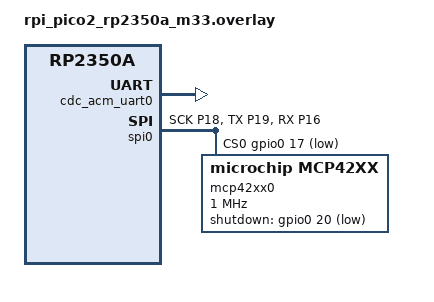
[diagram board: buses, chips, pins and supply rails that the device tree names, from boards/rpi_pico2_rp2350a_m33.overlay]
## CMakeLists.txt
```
# Copyright (c) 2026 Fabrizio Carlassara
# SPDX-License-Identifier: Apache-2.0

cmake_minimum_required(VERSION 3.20.0)

# This sample is its own application root (built via `-s
# app/samples/mcp4xxx`), so DTS_ROOT defaults to *this* directory, not
# app/ -- without this, the devicetree bindings at app/dts/bindings/
# (microchip,mcp41xx.yaml / microchip,mcp42xx.yaml) are never found, the
# mcp42xx0 node below never resolves against a binding, and
# DT_HAS_MICROCHIP_MCP42XX_ENABLED silently never becomes true, which
# silently keeps CONFIG_MCP4XXX at n regardless of anything in prj.conf.
# Must be set before find_package(Zephyr) picks DTS_ROOT up.
list(APPEND DTS_ROOT ${CMAKE_CURRENT_SOURCE_DIR}/../..)

find_package(Zephyr REQUIRED)
project(mcp4xxx_sample)

target_sources(app PRIVATE src/main.c)

# Reach into the app-local driver this sample exists to exercise -- same
# relative layout app/CMakeLists.txt uses for the real firmware, just two
# levels further down since this sample lives at app/samples/mcp4xxx/.
set(MCP4XXX_DRIVER_DIR ${CMAKE_CURRENT_SOURCE_DIR}/../../drivers/mcp4xxx)
target_include_directories(app PRIVATE ${MCP4XXX_DRIVER_DIR})
add_subdirectory_ifdef(CONFIG_MCP4XXX ${MCP4XXX_DRIVER_DIR} ${CMAKE_CURRENT_BINARY_DIR}/mcp4xxx)
target_link_libraries_ifdef(CONFIG_MCP4XXX app PRIVATE mcp4xxx)
```

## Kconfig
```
# Copyright (c) 2026 Fabrizio Carlassara
# SPDX-License-Identifier: Apache-2.0

mainmenu "MCP4XXX driver bring-up sample"

rsource "../../drivers/mcp4xxx/Kconfig"

source "Kconfig.zephyr"
```

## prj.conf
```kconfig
# Copyright (c) 2026 Fabrizio Carlassara
# SPDX-License-Identifier: Apache-2.0

CONFIG_GPIO=y
CONFIG_SPI=y
CONFIG_LOG=y
CONFIG_SHELL=y
CONFIG_MCP4XXX_LOG_LEVEL_DBG=y

CONFIG_USB_DEVICE_STACK_NEXT=y
CONFIG_USBD_CDC_ACM_LOG_LEVEL_OFF=y
CONFIG_CDC_ACM_SERIAL_INITIALIZE_AT_BOOT=y
CONFIG_CDC_ACM_SERIAL_ENABLE_AT_BOOT=y
CONFIG_CDC_ACM_SERIAL_PRODUCT_STRING="MCP4XXX Shell"
```

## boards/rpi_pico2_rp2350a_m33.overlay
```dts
/*
 * Copyright (c) 2026 Fabrizio Carlassara
 * SPDX-License-Identifier: Apache-2.0
 */

/*
 * Bench wiring for app/drivers/mcp4xxx/ bring-up against a real MCP4251.
 *
 * GPIO16-19 (CS/SCK/MOSI/MISO): the devboard at hardware/devboard/ wires
 * these to the TFT display's parallel control bus (see its README.md's
 * "Core2350B0 pin usage" table) -- fine here only because the display
 * isn't part of this particular bench setup. If that ever changes, this
 * needs to move (SPI1 on GPIO10/11/24/25 + GPIO26 for SHDN is free
 * regardless -- see git history of this file for that version).
 *
 * CS is a software-driven GPIO (cs-gpios), not the SPI0 peripheral's own
 * dedicated CSN pin function -- diagnosed against real hardware
 * (docs/ROADMAP.md has the full trace): with no cs-gpios,
 * spi_context_cs_control() is a no-op and CS timing is left entirely to
 * the RP2350's PL022-style hardware, which pulses CS between every data
 * frame (byte) instead of holding it low for a whole multi-byte
 * transfer. That's invisible for single-frame writes but breaks every
 * 2-byte Read Data command: the MCP4251 sees each byte as the start of
 * its own fresh, isolated command instead of one continuous 16-bit Read.
 * A GPIO-driven CS is asserted once and released once by Zephyr itself,
 * bypassing that hardware behavior. Same physical GPIO17 wire as before
 * -- only how firmware treats it changes.
 */

#include <zephyr/dt-bindings/pinctrl/rpi-pico-rp2350a-pinctrl.h>

/ {
	chosen {
		zephyr,console = &cdc_acm_uart0;
		zephyr,shell-uart = &cdc_acm_uart0;
	};
};

&zephyr_udc0 {
	cdc_acm_uart0: cdc_acm_uart0 {
		compatible = "zephyr,cdc-acm-uart";
		label = "CDC_ACM_0";
	};
};

&pinctrl {
	spi0_mcp4xxx: spi0_mcp4xxx {
		group1 {
			pinmux = <SPI0_SCK_P18>, <SPI0_TX_P19>;
		};
		group2 {
			pinmux = <SPI0_RX_P16>;
			input-enable;
		};
	};
};

&spi0 {
	status = "okay";
	pinctrl-0 = <&spi0_mcp4xxx>;
	pinctrl-names = "default";
	cs-gpios = <&gpio0 17 GPIO_ACTIVE_LOW>;

	mcp42xx0: mcp4251@0 {
		compatible = "microchip,mcp42xx";
		reg = <0>;
		spi-max-frequency = <DT_FREQ_M(1)>;
		ohms = <10000>;
		resolution = <8>;
		shutdown-gpios = <&gpio0 20 GPIO_ACTIVE_LOW>;
	};
};
```

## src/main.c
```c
/*
 * Copyright (c) 2026 Fabrizio Carlassara
 * SPDX-License-Identifier: Apache-2.0
 */

#include <stdlib.h>
#include <string.h>

#include <zephyr/device.h>
#include <zephyr/devicetree.h>
#include <zephyr/kernel.h>
#include <zephyr/shell/shell.h>
#include <zephyr/sys/util.h>

#include "mcp4xxx.h"

/*
 * Bench bring-up sample for app/drivers/mcp4xxx/ -- see this directory's
 * boards/ subdirectory for the wiring overlay, and docs/ROADMAP.md (in
 * the driver's own directory) for what's been validated against real
 * hardware so far.
 *
 * Deliberately shell-driven rather than an automatic sweep: each command
 * does exactly one thing and holds the result, so a multimeter/scope
 * reading can be taken at a steady value instead of chasing a moving one.
 */

static const struct device *const dev = DEVICE_DT_GET(DT_NODELABEL(mcp42xx0));

static int cmd_set(const struct shell *sh, size_t argc, char **argv)
{
	uint8_t channel = (uint8_t)strtoul(argv[1], NULL, 0);
	uint16_t value = (uint16_t)strtoul(argv[2], NULL, 0);
	int ret = mcp4xxx_set(dev, channel, value);

	if (ret != 0) {
		shell_error(sh, "mcp4xxx_set(%u, %u) failed: %d", channel, value, ret);
		return ret;
	}
	shell_print(sh, "ch%u <- %u", channel, value);
	return 0;
}

static int cmd_get(const struct shell *sh, size_t argc, char **argv)
{
	uint8_t channel = (uint8_t)strtoul(argv[1], NULL, 0);
	uint16_t value;
	int ret = mcp4xxx_get(dev, channel, &value);

	if (ret != 0) {
		shell_error(sh, "mcp4xxx_get(%u) failed: %d", channel, ret);
		return ret;
	}
	shell_print(sh, "ch%u -> %u", channel, value);
	return 0;
}

static int cmd_inc(const struct shell *sh, size_t argc, char **argv)
{
	uint8_t channel = (uint8_t)strtoul(argv[1], NULL, 0);
	int ret = mcp4xxx_increment(dev, channel);

	if (ret != 0) {
		shell_error(sh, "mcp4xxx_increment(%u) failed: %d", channel, ret);
		return ret;
	}
	shell_print(sh, "ch%u incremented", channel);
	return 0;
}

static int cmd_dec(const struct shell *sh, size_t argc, char **argv)
{
	uint8_t channel = (uint8_t)strtoul(argv[1], NULL, 0);
	int ret = mcp4xxx_decrement(dev, channel);

	if (ret != 0) {
		shell_error(sh, "mcp4xxx_decrement(%u) failed: %d", channel, ret);
		return ret;
	}
	shell_print(sh, "ch%u decremented", channel);
	return 0;
}

static int cmd_ohms(const struct shell *sh, size_t argc, char **argv)
{
	uint8_t channel = (uint8_t)strtoul(argv[1], NULL, 0);
	uint32_t ohms = (uint32_t)strtoul(argv[2], NULL, 0);
	int ret = mcp4xxx_set_ohms(dev, channel, ohms);

	if (ret != 0) {
		shell_error(sh, "mcp4xxx_set_ohms(%u, %u) failed: %d", channel, ohms, ret);
		return ret;
	}
	shell_print(sh, "ch%u <- ~%u ohms", channel, ohms);
	return 0;
}

static int cmd_shdn(const struct shell *sh, size_t argc, char **argv)
{
	bool assert_shdn = strcmp(argv[1], "on") == 0;
	int ret = mcp4xxx_hw_shutdown(dev, assert_shdn);

	if (ret != 0) {
		shell_error(sh, "mcp4xxx_hw_shutdown(%d) failed: %d", assert_shdn, ret);
		return ret;
	}
	shell_print(sh, "SHDN %s", assert_shdn ? "asserted" : "released");
	return 0;
}

static int cmd_tcon_read(const struct shell *sh, size_t argc, char **argv)
{
	uint16_t value;
	int ret = mcp4xxx_read_tcon(dev, &value);

	if (ret != 0) {
		shell_error(sh, "mcp4xxx_read_tcon() failed: %d", ret);
		return ret;
	}
	shell_print(sh, "TCON = 0x%03x", value);
	return 0;
}

static int cmd_tcon_write(const struct shell *sh, size_t argc, char **argv)
{
	uint16_t value = (uint16_t)strtoul(argv[1], NULL, 0);
	int ret = mcp4xxx_write_tcon(dev, value);

	if (ret != 0) {
		shell_error(sh, "mcp4xxx_write_tcon(0x%03x) failed: %d", value, ret);
		return ret;
	}
	shell_print(sh, "TCON <- 0x%03x", value);
	return 0;
}

static int cmd_status(const struct shell *sh, size_t argc, char **argv)
{
	uint16_t value;
	int ret = mcp4xxx_read_status(dev, &value);

	if (ret != 0) {
		shell_error(sh, "mcp4xxx_read_status() failed: %d", ret);
		return ret;
	}
	shell_print(sh, "STATUS = 0x%03x (SHDN pin %s)", value,
		    (value & BIT(1)) ? "low" : "high");
	return 0;
}

SHELL_STATIC_SUBCMD_SET_CREATE(mcp4xxx_cmds,
	SHELL_CMD_ARG(set, NULL, "<channel> <value>", cmd_set, 3, 0),
	SHELL_CMD_ARG(get, NULL, "<channel>", cmd_get, 2, 0),
	SHELL_CMD_ARG(inc, NULL, "<channel>", cmd_inc, 2, 0),
	SHELL_CMD_ARG(dec, NULL, "<channel>", cmd_dec, 2, 0),
	SHELL_CMD_ARG(ohms, NULL, "<channel> <ohms>", cmd_ohms, 3, 0),
	SHELL_CMD_ARG(shdn, NULL, "<on|off>", cmd_shdn, 2, 0),
	SHELL_CMD_ARG(tcon_read, NULL, "", cmd_tcon_read, 1, 0),
	SHELL_CMD_ARG(tcon_write, NULL, "<value>", cmd_tcon_write, 2, 0),
	SHELL_CMD_ARG(status, NULL, "", cmd_status, 1, 0),
	SHELL_SUBCMD_SET_END
);
SHELL_CMD_REGISTER(mcp4xxx, &mcp4xxx_cmds, "mcp4xxx driver bring-up commands", NULL);

int main(void)
{
	if (!device_is_ready(dev)) {
		return -ENODEV;
	}
	return 0;
}
```
